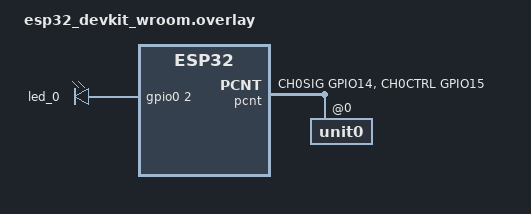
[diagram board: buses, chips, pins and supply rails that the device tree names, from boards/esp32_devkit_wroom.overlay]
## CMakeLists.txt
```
cmake_minimum_required(VERSION 3.20.0)

set(BOARD esp32_devkitc_wroom)
set(DTO_DIR ${CMAKE_CURRENT_SOURCE_DIR}/boards)
set(DTC_OVERLAY_FILE ${DTO_DIR}/esp32_devkit_wroom.overlay)
find_package(Zephyr REQUIRED HINTS $ENV{ZEPHYR_BASE})

project(qenc_motor)

target_sources(app PRIVATE src/main.c)
```

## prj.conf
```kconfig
CONFIG_ESP32_USE_UNSUPPORTED_REVISION=y
CONFIG_STDOUT_CONSOLE=y
CONFIG_GPIO=y
CONFIG_SENSOR=y
CONFIG_FPU=y
```

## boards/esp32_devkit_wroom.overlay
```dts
/{
    leds {
        compatible = "gpio-leds";
        led_0:led_0 {
            gpios = <&gpio0 2 GPIO_ACTIVE_HIGH>;
        };
    };

    aliases {
		qdec0 = &pcnt;
	};


};

&pinctrl {
    pcnt_default: pcnt_default {
        group1 {
            pinmux = <PCNT0_CH0SIG_GPIO14>,
                    <PCNT0_CH0CTRL_GPIO15>;
            bias-pull-up;
        };
    };
};

&pcnt {
    pinctrl-0 = <&pcnt_default>;
    pinctrl-names = "default";
    status = "okay";
    #address-cells = <1>;
    #size-cells = <0>;
    unit0@0 {
      reg = <0>;
      #address-cells = <1>;
      #size-cells = <0>;
      filter = <100>;
      channelA@0 {
          reg = <0>;
          sig-pos-mode = <2>;
          sig-neg-mode = <1>;
          ctrl-h-mode = <0>;
          ctrl-l-mode = <1>;
      };
    };
};
```

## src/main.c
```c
#include <zephyr/kernel.h>
#include <zephyr/drivers/sensor.h>
#include <zephyr/sys/printk.h>
#include <zephyr/device.h>

#define TIMER_PERIOD_AND_DURATION K_MSEC(20)
#define TIME_BASIS 0.02

static int16_t prev_pulse_count = 0;
static double velocity = 0.0;
const struct device *const dev = DEVICE_DT_GET(DT_ALIAS(qdec0));



struct k_timer calculate_velocity_tim;

static void tim_callback(struct k_timer *tim)
{
	struct sensor_value val;
	if (sensor_sample_fetch(dev) != 0)
	{
		printk("Failed to fetch sample\n");
	}
	else
	{
		sensor_channel_get(dev, SENSOR_CHAN_ROTATION, &val);
		velocity = (((double)(val.val1 - prev_pulse_count)) / (11.0*4.4))*(60.0/TIME_BASIS);
		prev_pulse_count = val.val1;
	}
}

int main(void)
{

	if (!device_is_ready(dev))
	{
		printk("Qdec device is not ready\n");
		return 0;
	}

	k_timer_init(&calculate_velocity_tim, tim_callback, NULL);
	k_timer_start(&calculate_velocity_tim,TIMER_PERIOD_AND_DURATION,TIMER_PERIOD_AND_DURATION);
	printk("Quadrature decoder sensor test\n");


	while (1)
	{
		printk("%d\n", prev_pulse_count);
	}
	return 0;
}
```
